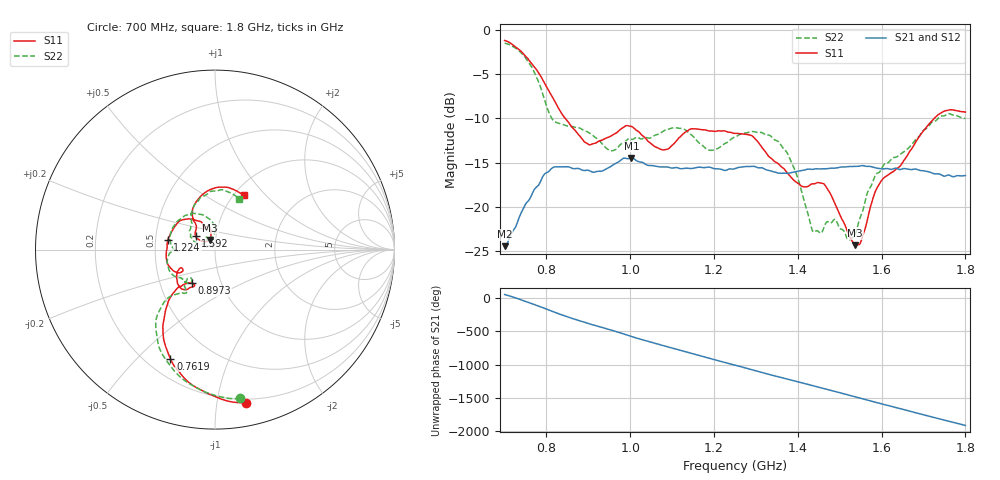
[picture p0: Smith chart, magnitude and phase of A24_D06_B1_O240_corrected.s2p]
! Created with skrf 1.9.0 (http://scikit-rf.org).
# Hz S RI R 50.0
!freq ReS11 ImS11 ReS21 ImS21 ReS12 ImS12 ReS22 ImS22
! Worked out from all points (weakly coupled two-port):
!   1601 points, 700 MHz to 1.8 GHz, reference 50 ohm
!   highest |S21| = -14.47 dB at 1.002 GHz (marker M1); lowest = -24.5 dB at 700 MHz (marker M2)
!   lowest |S11| = -24.3 dB at 1.537 GHz (marker M3), VSWR 1.13, Z = 47.1 + j5.13 ohm
!   |S11| at or under -10 dB: 844.7 MHz to 1.726 GHz (881 MHz wide, 68.6 % of centre)
!   |S22| runs from -23.8 to -1.5 dB; largest |S21 - S12| = 0.0034
!   S11 on the Smith chart (normalised r, x): 700 MHz: 0.17, -1.21; 761.9 MHz: 0.30, -0.63; 897.3 MHz: 0.72, -0.29; 1.224 GHz: 0.58, +0.07; 1.592 GHz: 0.80, +0.12; 1.8 GHz: 1.11, +0.76
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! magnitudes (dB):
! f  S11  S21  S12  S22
! 700 MHz  -1.2  -24.5  -24.2  -1.5
! 761.9 MHz  -3.7  -18.9  -18.9  -4.0
! 815.5 MHz  -7.7  -15.6  -15.6  -10.2
! 883.6 MHz  -12.3  -15.8  -15.7  -11.2
! 897.3 MHz  -12.9  -15.9  -15.9  -11.5
! 953.7 MHz  -12.0  -15.4  -15.4  -13.7
! 1.002 GHz  -10.9  -14.5  -14.6  -12.4
! 1.067 GHz  -13.4  -15.5  -15.4  -11.8
! 1.145 GHz  -11.2  -15.7  -15.7  -11.8
! 1.187 GHz  -11.4  -15.5  -15.6  -13.6
! 1.224 GHz  -11.4  -15.9  -15.9  -12.9
! 1.25 GHz  -11.7  -15.7  -15.6  -12.1
! 1.356 GHz  -15.3  -16.2  -16.1  -12.8
! 1.394 GHz  -17.2  -16.0  -16.0  -16.0
! 1.434 GHz  -17.4  -15.8  -15.7  -22.5
! 1.467 GHz  -17.7  -15.7  -15.7  -21.8
! 1.537 GHz  -24.3  -15.4  -15.4  -23.1
! 1.552 GHz  -23.8  -15.4  -15.4  -20.9
! 1.592 GHz  -17.6  -15.7  -15.6  -16.2
! 1.617 GHz  -16.4  -15.7  -15.7  -15.0
! 1.733 GHz  -9.7  -16.3  -16.3  -10.1
! 1.8 GHz  -9.3  -16.5  -16.5  -10.0
